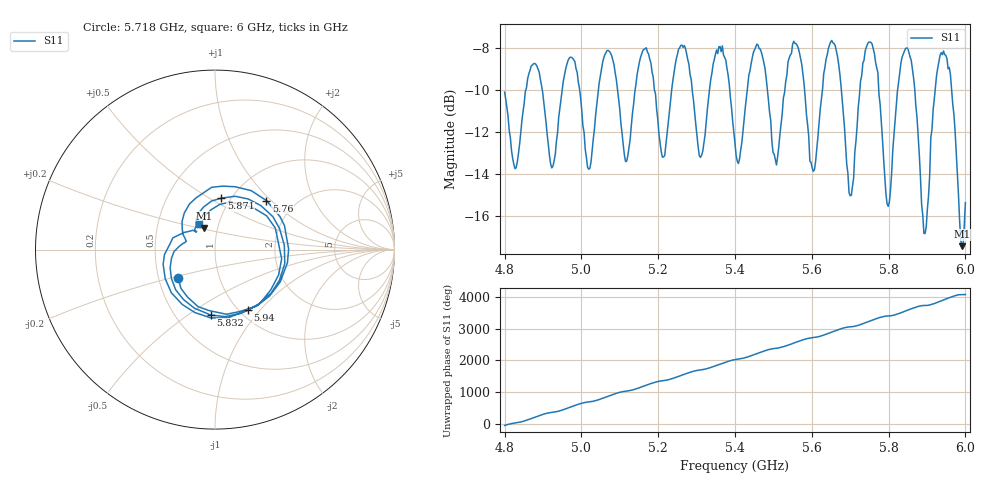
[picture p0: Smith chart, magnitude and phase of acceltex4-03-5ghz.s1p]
! NanoVNA-App
! Date: 2026-05-22 19:59:40
! Start: 4.8GHz Stop: 6GHz Points: 401
! S-Parameter data: F S11
# Hz S RI R 50
!  Frequency  S11_Real  S11_Imag
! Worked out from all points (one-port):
!   401 points, 4.8 GHz to 6 GHz, reference 50 ohm
!   lowest |S11| = -17.5 dB at 5.991 GHz (marker M1), VSWR 1.31, Z = 43.2 + j10.6 ohm
!   |S11| at or under -10 dB: start of sweep to 4.855 GHz; 4.898 GHz to 4.95 GHz (52.29 MHz wide, 1.06 % of centre); 5.774 GHz to 5.824 GHz (49.23 MHz wide, 0.849 % of centre)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
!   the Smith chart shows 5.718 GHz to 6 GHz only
!   S11 on the Smith chart (normalised r, x): 5.718 GHz: 0.63, -0.21; 5.76 GHz: 1.45, +0.94; 5.832 GHz: 0.73, -0.62; 5.871 GHz: 0.91, +0.57; 5.94 GHz: 1.09, -0.86; 6 GHz: 0.80, +0.24
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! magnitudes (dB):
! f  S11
! 4.8 GHz  -10.1
! 4.83 GHz  -13.7
! 4.884 GHz  -8.9
! 4.923 GHz  -13.7
! 4.95 GHz  -10.0
! 5.1 GHz  -11.0
! 5.169 GHz  -8.0
! 5.214 GHz  -13.2
! 5.25 GHz  -8.3
! 5.31 GHz  -13.2
! 5.364 GHz  -8.2
! 5.4 GHz  -12.6
! 5.46 GHz  -7.9
! 5.508 GHz  -13.6
! 5.55 GHz  -7.8
! 5.604 GHz  -13.9
! 5.658 GHz  -7.8
! 5.7 GHz  -15.1
! 5.718 GHz  -11.7
! 5.76 GHz  -8.0
! 5.799 GHz  -15.6
! 5.832 GHz  -8.7
! 5.85 GHz  -8.0
! 5.871 GHz  -10.8
! 5.895 GHz  -16.9
! 5.94 GHz  -8.3
! 5.991 GHz  -17.5
! 6 GHz  -15.4
